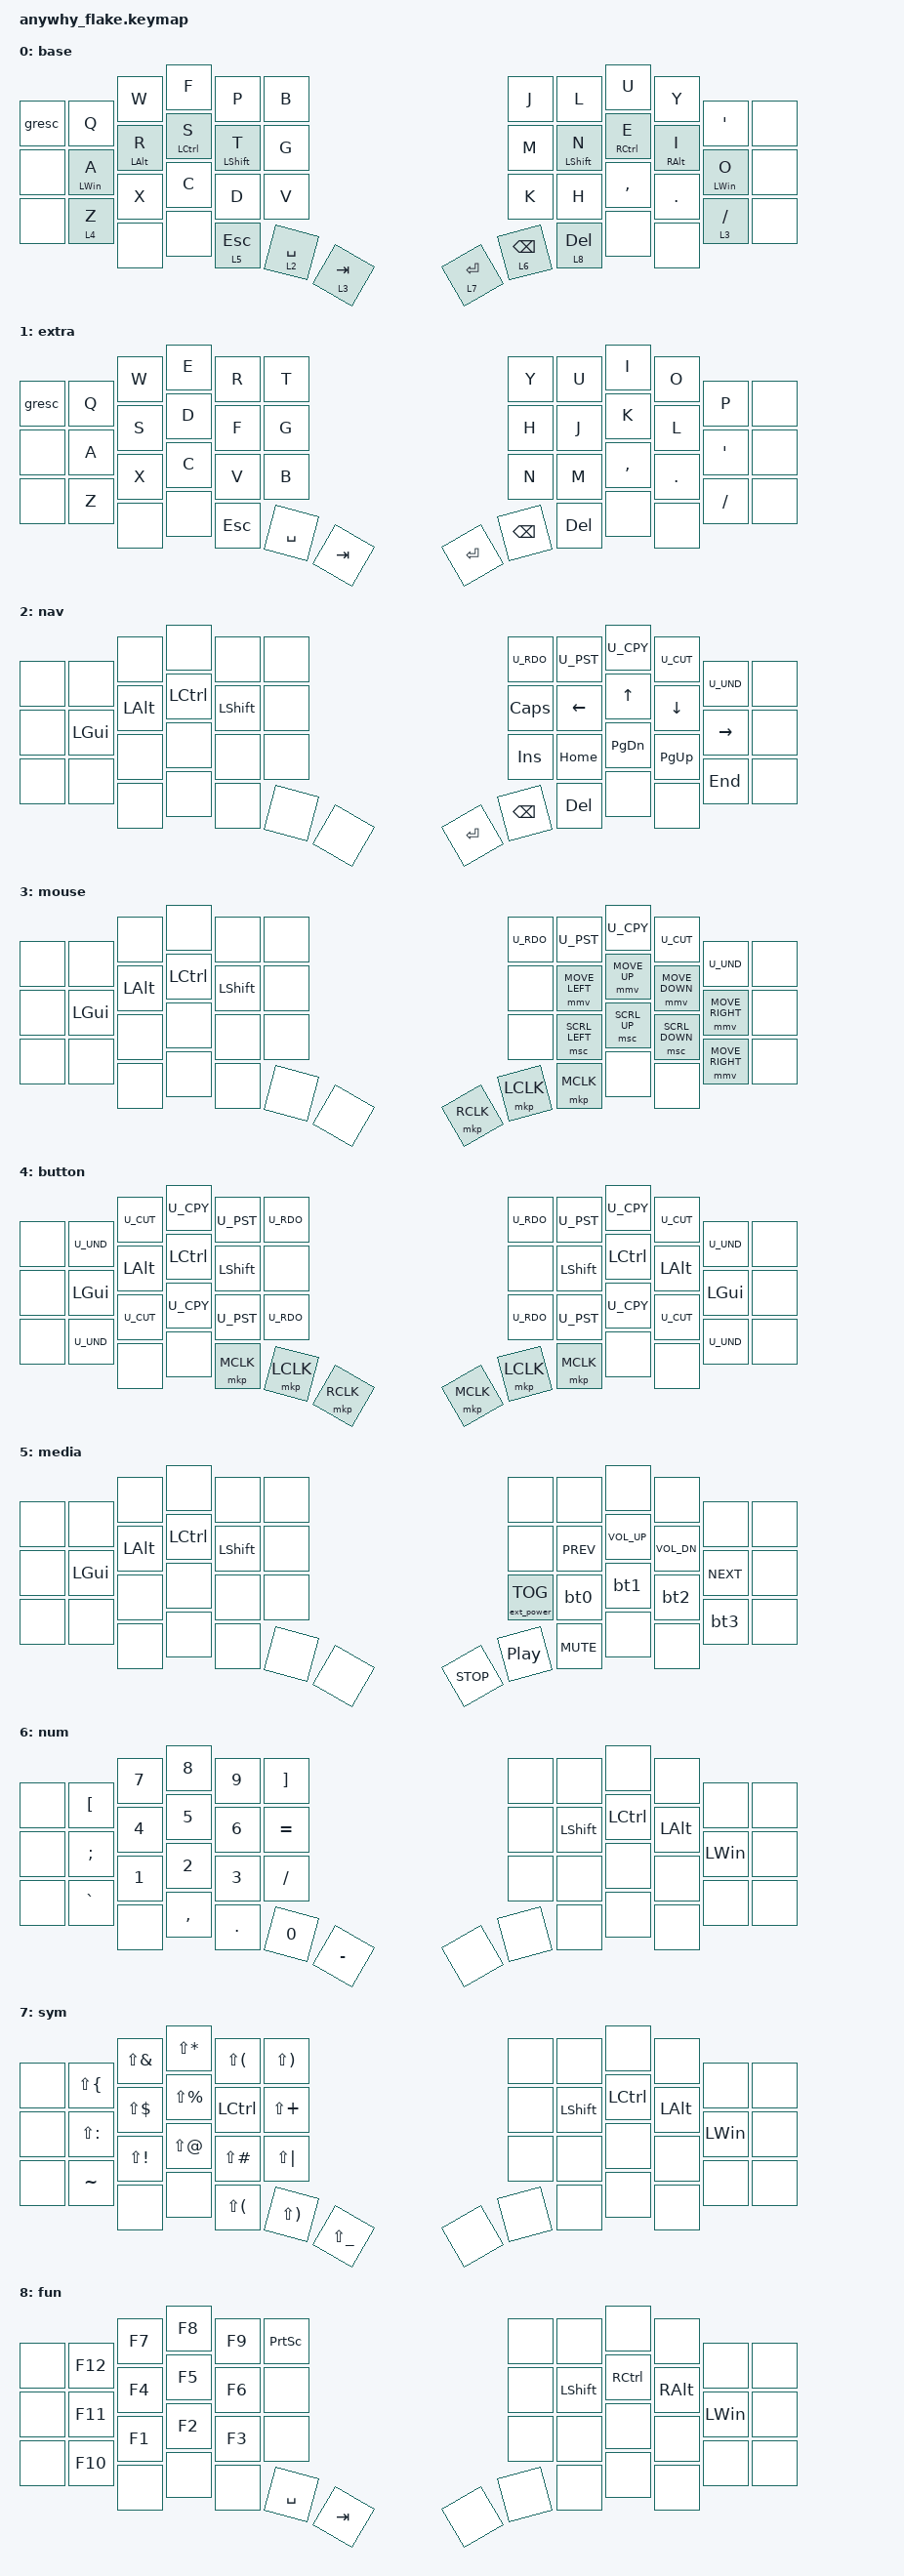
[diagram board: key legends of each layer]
#include <behaviors.dtsi>
#include <dt-bindings/zmk/bt.h>
#include <dt-bindings/zmk/ext_power.h>
#include <dt-bindings/zmk/keys.h>
#include <dt-bindings/zmk/pointing.h>

#define ZMK_POINTING_DEFAULT_MOVE_VAL 700  // default: 600
#define ZMK_POINTING_DEFAULT_SCRL_VAL 15    // default: 10


/ {
    combos {
        compatible = "zmk,combos";

        bt_sel_3 {
            bindings = <&bt3>;
            key-positions = <30 18>;
        };

        bt_sel_4 {
            bindings = <&bt4>;
            key-positions = <18 6>;
        };

        grave {
            bindings = <&kp GRAVE>;
            key-positions = <7 13>;
        };
    };

    macros {
        bt_clr_0: bt_clr_0 {
            compatible = "zmk,behavior-macro";
            #binding-cells = <0>;
            bindings = <&bt BT_SEL 0 &bt BT_CLR>;
        };

        bt_clr_1: bt_clr_1 {
            compatible = "zmk,behavior-macro";
            #binding-cells = <0>;
            bindings = <&bt BT_SEL 1 &bt BT_CLR>;
        };

        bt_clr_2: bt_clr_2 {
            compatible = "zmk,behavior-macro";
            #binding-cells = <0>;
            bindings = <&bt BT_SEL 2 &bt BT_CLR>;
        };

        bt_clr_3: bt_clr_3 {
            compatible = "zmk,behavior-macro";
            #binding-cells = <0>;
            bindings = <&bt BT_SEL 3 &bt BT_CLR>;
        };

        bt_clr_4: bt_clr_4 {
            compatible = "zmk,behavior-macro";
            #binding-cells = <0>;
            bindings = <&bt BT_SEL 4 &bt BT_CLR>;
        };

        U_RDO: U_RDO {
            compatible = "zmk,behavior-macro";
            #binding-cells = <0>;
            bindings = <&kp LC(Y)>;
        };

        U_PST: U_PST {
            compatible = "zmk,behavior-macro";
            #binding-cells = <0>;
            bindings = <&kp LC(V)>;
        };

        U_CPY: U_CPY {
            compatible = "zmk,behavior-macro";
            #binding-cells = <0>;
            bindings = <&kp LC(C)>;
        };

        U_CUT: U_CUT {
            compatible = "zmk,behavior-macro";
            #binding-cells = <0>;
            bindings = <&kp LC(X)>;
        };

        U_UND: U_UND {
            compatible = "zmk,behavior-macro";
            #binding-cells = <0>;
            bindings = <&kp LC(Z)>;
        };

        U_BOOT: U_BOOT {
            compatible = "zmk,behavior-macro";
            #binding-cells = <0>;
            bindings = <&bootloader>;
        };
    };

    behaviors {
        bt0: bt0 {
            compatible = "zmk,behavior-mod-morph";
            bindings = <&bt BT_SEL 0>, <&bt_clr_0>;

            #binding-cells = <0>;
            mods = <(MOD_LSFT|MOD_RSFT)>;
        };

        bt1: bt1 {
            compatible = "zmk,behavior-mod-morph";
            bindings = <&bt BT_SEL 1>, <&bt_clr_1>;

            #binding-cells = <0>;
            mods = <(MOD_LSFT|MOD_RSFT)>;
        };

        bt2: bt2 {
            compatible = "zmk,behavior-mod-morph";
            bindings = <&bt BT_SEL 2>, <&bt_clr_2>;

            #binding-cells = <0>;
            mods = <(MOD_LSFT|MOD_RSFT)>;
        };

        bt3: bt3 {
            compatible = "zmk,behavior-mod-morph";
            bindings = <&bt BT_SEL 3>, <&bt_clr_3>;

            #binding-cells = <0>;
            mods = <(MOD_LSFT|MOD_RSFT)>;
        };

        bt4: bt4 {
            compatible = "zmk,behavior-mod-morph";
            bindings = <&bt BT_SEL 4>, <&bt_clr_4>;

            #binding-cells = <0>;
            mods = <(MOD_LSFT|MOD_RSFT)>;
        };

        hml: homewrow_mods_left {
            compatible = "zmk,behavior-hold-tap";
            bindings = <&kp>, <&kp>;

            #binding-cells = <2>;
            tapping-term-ms = <300>;
            hold-trigger-key-positions = <41 19 21 31 32 33 43 44 45 6 7 8 9 10 11 18 19 20 21 22 23 30 31 32 33 34 35 42 43 44 45>;
        };

        hmr: homewrow_mods_right {
            compatible = "zmk,behavior-hold-tap";
            bindings = <&kp>, <&kp>;

            #binding-cells = <2>;
            hold-trigger-key-positions = <0 1 2 3 4 5 12 13 14 15 16 17 24 25 26 27 28 29 36 37 38 39 40>;
            tapping-term-ms = <300>;
        };

        u_mt: u_mt {
            compatible = "zmk,behavior-hold-tap";
            #binding-cells = <2>;
            tapping-term-ms = <250>;
            flavor = "tap-preferred";
            bindings = <&kp>, <&kp>;
        };

        u_lt: u_lt {
            compatible = "zmk,behavior-hold-tap";
            #binding-cells = <2>;
            tapping-term-ms = <250>;
            flavor = "tap-preferred";
            bindings = <&mo>, <&kp>;
        };
    };

    keymap {
        compatible = "zmk,keymap";

        base {
            bindings = <
&gresc  &kp Q             &kp W             &kp F                 &kp P          &kp B        &kp J        &kp L            &kp U                  &kp Y              &kp SQT           &none
&none   &u_mt LEFT_WIN A  &u_mt LEFT_ALT R  &u_mt LEFT_CONTROL S  &u_mt LSHFT T  &kp G        &kp M        &u_mt LSHFT N    &u_mt RIGHT_CONTROL E  &u_mt RIGHT_ALT I  &u_mt LEFT_WIN O  &none
&none   &lt 4 Z           &kp X             &kp C                 &kp D          &kp V        &kp K        &kp H            &kp COMMA              &kp PERIOD         &lt 3 SLASH       &none
        &none             &none             &lt 5 ESC             &lt 2 SPACE    &lt 3 TAB    &lt 7 ENTER  &lt 6 BACKSPACE  &lt 8 DELETE           &none              &none
            >;
        };

        extra {
            bindings = <
&gresc  &kp Q  &kp W  &kp E    &kp R      &kp T      &kp Y      &kp U          &kp I       &kp O    &kp P      &none
&none   &kp A  &kp S  &kp D    &kp F      &kp G      &kp H      &kp J          &kp K       &kp L    &kp SQT    &none
&none   &kp Z  &kp X  &kp C    &kp V      &kp B      &kp N      &kp M          &kp COMMA   &kp DOT  &kp SLASH  &none
        &none  &none  &kp ESC  &kp SPACE  &kp TAB    &kp ENTER  &kp BACKSPACE  &kp DELETE  &none    &none
            >;
        };

        nav {
            bindings = <
&none  &none     &none     &none      &none      &none    &U_RDO      &U_PST    &U_CPY     &U_CUT     &U_UND     &none
&none  &kp LGUI  &kp LALT  &kp LCTRL  &kp LSHFT  &none    &kp CAPS    &kp LEFT  &kp UP     &kp DOWN   &kp RIGHT  &none
&none  &none     &none     &none      &none      &none    &kp INSERT  &kp HOME  &kp PG_DN  &kp PG_UP  &kp END    &none
       &none     &none     &none      &none      &none    &kp ENTER   &kp BSPC  &kp DEL    &none      &none
            >;
        };

        mouse {
            bindings = <
&none  &none     &none     &none      &none      &none    &U_RDO     &U_PST          &U_CPY        &U_CUT          &U_UND           &none
&none  &kp LGUI  &kp LALT  &kp LCTRL  &kp LSHFT  &none    &none      &mmv MOVE_LEFT  &mmv MOVE_UP  &mmv MOVE_DOWN  &mmv MOVE_RIGHT  &none
&none  &none     &none     &none      &none      &none    &none      &msc SCRL_LEFT  &msc SCRL_UP  &msc SCRL_DOWN  &mmv MOVE_RIGHT  &none
       &none     &none     &none      &none      &none    &mkp RCLK  &mkp LCLK       &mkp MCLK     &none           &none
            >;
        };

        button {
            bindings = <
&none  &U_UND    &U_CUT    &U_CPY     &U_PST     &U_RDO       &U_RDO     &U_PST     &U_CPY     &U_CUT    &U_UND    &none
&none  &kp LGUI  &kp LALT  &kp LCTRL  &kp LSHFT  &none        &none      &kp LSHFT  &kp LCTRL  &kp LALT  &kp LGUI  &none
&none  &U_UND    &U_CUT    &U_CPY     &U_PST     &U_RDO       &U_RDO     &U_PST     &U_CPY     &U_CUT    &U_UND    &none
       &none     &none     &mkp MCLK  &mkp LCLK  &mkp RCLK    &mkp MCLK  &mkp LCLK  &mkp MCLK  &none     &none
            >;
        };

        media {
            bindings = <
&none  &none     &none     &none      &none      &none    &none              &none             &none            &none         &none       &none
&none  &kp LGUI  &kp LALT  &kp LCTRL  &kp LSHFT  &none    &none              &kp C_PREV        &kp C_VOLUME_UP  &kp C_VOL_DN  &kp C_NEXT  &none
&none  &none     &none     &none      &none      &none    &ext_power EP_TOG  &bt0              &bt1             &bt2          &bt3        &none
       &none     &none     &none      &none      &none    &kp C_STOP         &kp C_PLAY_PAUSE  &kp C_MUTE       &none         &none
            >;
        };

        num {
            bindings = <
&none  &kp LEFT_BRACKET  &kp N7        &kp N8        &kp N9        &kp RIGHT_BRACKET    &none  &none      &none      &none     &none         &none
&none  &kp SEMICOLON     &kp NUMBER_4  &kp N5        &kp NUMBER_6  &kp EQUAL            &none  &kp LSHFT  &kp LCTRL  &kp LALT  &kp LEFT_WIN  &none
&none  &kp GRAVE         &kp NUMBER_1  &kp NUMBER_2  &kp NUMBER_3  &kp SLASH            &none  &none      &none      &none     &none         &none
       &none             &kp COMMA     &kp PERIOD    &kp N0        &kp MINUS            &none  &none      &none      &none     &none
            >;
        };

        sym {
            bindings = <
&none  &kp LS(LBRC)   &kp LS(AMPS)  &kp LS(STAR)   &kp LS(LPAR)   &kp LS(RPAR)     &none  &none      &none      &none     &none         &none
&none  &kp LS(COLON)  &kp LS(DLLR)  &kp LS(PRCNT)  &kp LCTRL      &kp LS(PLUS)     &none  &kp LSHFT  &kp LCTRL  &kp LALT  &kp LEFT_WIN  &none
&none  &kp TILDE      &kp LS(EXCL)  &kp LS(AT)     &kp LS(POUND)  &kp LS(PIPE)     &none  &none      &none      &none     &none         &none
       &none          &none         &kp LS(LPAR)   &kp LS(RPAR)   &kp LS(UNDER)    &none  &none      &none      &none     &none
            >;
        };

        fun {
            bindings = <
&none  &kp F12  &kp F7  &kp F8  &kp F9     &kp PRINTSCREEN    &none  &none           &none              &none          &none     &none
&none  &kp F11  &kp F4  &kp F5  &kp F6     &none              &none  &kp LEFT_SHIFT  &kp RIGHT_CONTROL  &kp RIGHT_ALT  &kp LWIN  &none
&none  &kp F10  &kp F1  &kp F2  &kp F3     &none              &none  &none           &none              &none          &none     &none
       &none    &none   &none   &kp SPACE  &kp TAB            &none  &none           &none              &none          &none
            >;
        };
    };
};
